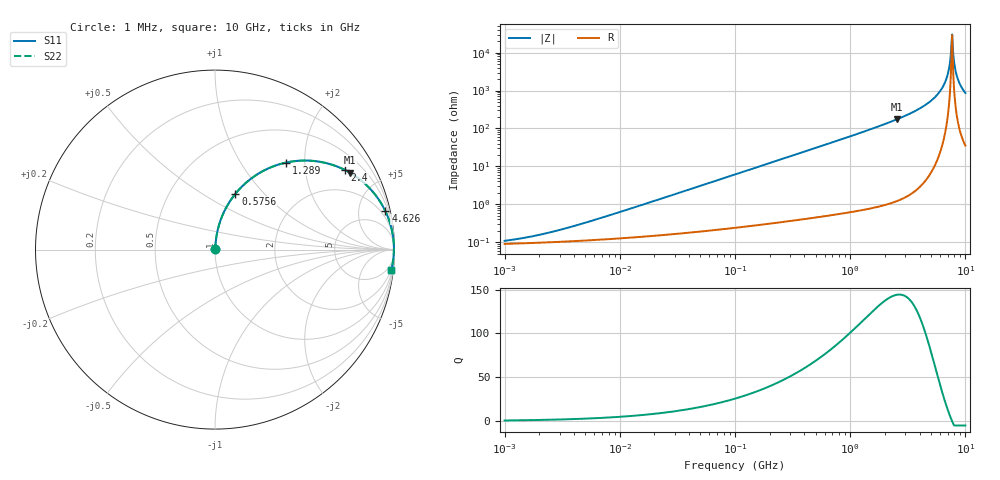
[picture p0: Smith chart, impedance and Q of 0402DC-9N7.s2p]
# MHz  S  MA  R  50
!Freq  MagS11  AngS11  MagS21  AngS21  MagS12  AngS12  MagS22  AngS22
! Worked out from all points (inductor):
!   801 points, 1 MHz to 10 GHz, reference 50 ohm
!   read as one part in series: L = 9.7 nH near 5.559 MHz
!   highest Q = 144 at 2.542 GHz (marker M1), where L = 10.9 nH
!   self-resonance near 7.589 GHz
!   S11 on the Smith chart (normalised r, x): 1 MHz: 1.00, +0.00; 575.6 MHz: 1.01, +0.71; 1.289 GHz: 1.01, +1.62; 2.4 GHz: 1.02, +3.24; 4.626 GHz: 1.09, +8.87; 10 GHz: 2, -17
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1  0.001082 34.2  0.9991 -0.0  0.9991 -0.0  0.001082 34.2
4.67769  0.003048 69.0  0.9989 -0.2  0.9989 -0.2  0.003048 69.0
21.6303  0.01325 82.8  0.9984 -0.8  0.9984 -0.8  0.01325 82.8
100.0216  0.06076 84.3  0.9958 -3.5  0.9958 -3.5  0.06076 84.3
467.8699  0.2741 73.2  0.9576 -15.9  0.9576 -15.9  0.2741 73.2
575.6113  0.3313 69.9  0.9391 -19.3  0.9391 -19.3  0.3313 69.9
1288.682  0.626 50.7  0.7744 -38.8  0.7744 -38.8  0.626 50.7
2163.497  0.8173 34.8  0.5704 -54.8  0.5704 -54.8  0.8173 34.8
2399.708  0.8485 31.5  0.5232 -58.1  0.5232 -58.1  0.8485 31.5
2541.906  0.8645 29.8  0.4966 -59.8  0.4966 -59.8  0.8645 29.8
4625.639  0.9733 12.7  0.2194 -76.7  0.2194 -76.7  0.9733 12.7
5625.689  0.9887 7.6  0.1329 -81.3  0.1329 -81.3  0.9887 7.6
6459.197  0.9947 4.2  0.07309 -83.8  0.07309 -83.8  0.9947 4.2
6921.177  0.9963 2.5  0.04349 -83.8  0.04349 -83.8  0.9963 2.5
7164.414  0.9967 1.6  0.02877 -82.5  0.02877 -82.5  0.9967 1.6
7416.199  0.9969 0.8  0.01419 -76.9  0.01419 -76.9  0.9969 0.8
7676.832  0.9968 -0.1  0.003287 15.6  0.003287 15.6  0.9968 -0.1
7946.626  0.9966 -0.9  0.01598 77.1  0.01598 77.1  0.9966 -0.9
8225.901  0.9961 -1.7  0.03058 81.7  0.03058 81.7  0.9961 -1.7
8613.594  0.995 -2.9  0.0502 82.9  0.0502 82.9  0.995 -2.9
9229.662  0.9927 -4.6  0.07976 82.5  0.07976 82.5  0.9927 -4.6
10000  0.9888 -6.6  0.1143 81.1  0.1143 81.1  0.9888 -6.6
